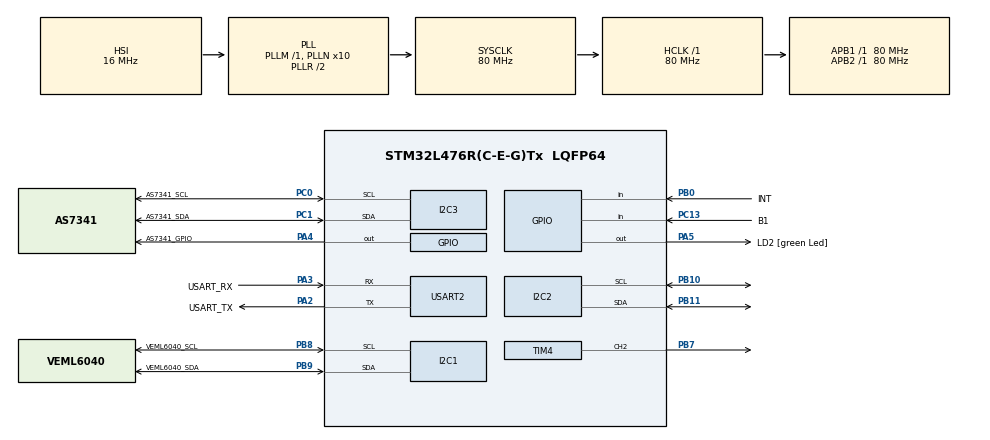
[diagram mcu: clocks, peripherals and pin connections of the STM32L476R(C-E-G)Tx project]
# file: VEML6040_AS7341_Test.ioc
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I2C1.Timing=0x10909CEC
I2C2.Timing=0x10909CEC
I2C3.Timing=0x10909CEC
Mcu.Family=STM32L4
Mcu.Name=STM32L476R(C-E-G)Tx
Mcu.Package=LQFP64
NVIC.PriorityGroup=NVIC_PRIORITYGROUP_4
NVIC.TIM1_UP_TIM16_IRQn=true\:0\:0\:false\:false\:true\:true\:true\:true
PA1.Signal=TIM15_CH1N
PA13\ (JTMS-SWDIO).GPIO_Label=TMS
PA13\ (JTMS-SWDIO).Mode=Serial_Wire
PA13\ (JTMS-SWDIO).Signal=SYS_JTMS-SWDIO
PA14\ (JTCK-SWCLK).GPIO_Label=TCK
PA14\ (JTCK-SWCLK).Mode=Serial_Wire
PA14\ (JTCK-SWCLK).Signal=SYS_JTCK-SWCLK
PA2.GPIO_Label=USART_TX
PA2.GPIO_Mode=GPIO_MODE_AF_PP
PA2.GPIO_PuPd=GPIO_NOPULL
PA2.GPIO_Speed=GPIO_SPEED_FREQ_VERY_HIGH
PA2.Mode=Asynchronous
PA2.Signal=USART2_TX
PA3.GPIO_Label=USART_RX
PA3.GPIO_Mode=GPIO_MODE_AF_PP
PA3.GPIO_PuPd=GPIO_NOPULL
PA3.GPIO_Speed=GPIO_SPEED_FREQ_VERY_HIGH
PA3.Mode=Asynchronous
PA3.Signal=USART2_RX
PA4.GPIO_Label=AS7341_GPIO
PA4.Signal=GPIO_Output
PA5.GPIO_Label=LD2 [green Led]
PA5.GPIO_ModeDefaultOutputPP=GPIO_MODE_OUTPUT_PP
PA5.GPIO_PuPd=GPIO_NOPULL
PA5.GPIO_Speed=GPIO_SPEED_FREQ_LOW
PA5.Signal=GPIO_Output
PB0.GPIO_Label=INT
PB0.Signal=GPIO_Input
PB10.Mode=I2C
PB10.Signal=I2C2_SCL
PB11.Mode=I2C
PB11.Signal=I2C2_SDA
PB3\ (JTDO-TRACESWO).GPIO_Label=SWO
PB3\ (JTDO-TRACESWO).Signal=SYS_JTDO-SWO
PB7.Signal=S_TIM4_CH2
PB8.GPIO_Label=VEML6040_SCL
PB8.Mode=I2C
PB8.Signal=I2C1_SCL
PB9.GPIO_Label=VEML6040_SDA
PB9.Mode=I2C
PB9.Signal=I2C1_SDA
PC0.GPIO_Label=AS7341_SCL
PC0.Mode=I2C
PC0.Signal=I2C3_SCL
PC1.GPIO_Label=AS7341_SDA
PC1.Mode=I2C
PC1.Signal=I2C3_SDA
PC13.GPIO_Label=B1
PC13.Signal=GPIO_Input
PC14-OSC32_IN\ (PC14).Mode=LSE-External-Oscillator
PC14-OSC32_IN\ (PC14).Signal=RCC_OSC32_IN
PC15-OSC32_OUT\ (PC15).Mode=LSE-External-Oscillator
PC15-OSC32_OUT\ (PC15).Signal=RCC_OSC32_OUT
PH0-OSC_IN\ (PH0).Signal=RCC_OSC_IN
PH1-OSC_OUT\ (PH1).Signal=RCC_OSC_OUT
ProjectManager.HeapSize=0x200
ProjectManager.StackSize=0x400
ProjectManager.TargetToolchain=STM32CubeIDE
RCC.ADCFreq_Value=64000000
RCC.AHBFreq_Value=80000000
RCC.APB1Freq_Value=80000000
RCC.APB1TimFreq_Value=80000000
RCC.APB2Freq_Value=80000000
RCC.APB2TimFreq_Value=80000000
RCC.CortexFreq_Value=80000000
RCC.HCLKFreq_Value=80000000
RCC.HSE_VALUE=8000000
RCC.HSI_VALUE=16000000
RCC.MSI_VALUE=4000000
RCC.PLLN=10
RCC.PLLSourceVirtual=RCC_PLLSOURCE_HSI
RCC.PREFETCH_ENABLE=1
RCC.SYSCLKFreq_VALUE=80000000
RCC.SYSCLKSource=RCC_SYSCLKSOURCE_PLLCLK
RCC.USART2CLockSelection=RCC_USART2CLKSOURCE_SYSCLK
RCC.USBFreq_Value=64000000
RCC.VCOOutputFreq_Value=160000000
SH.S_TIM4_CH2.0=TIM4_CH2,PWM Generation2 CH2
TIM16.Period=10000-1
TIM16.Prescaler=40000-1
TIM4.Channel-PWM\ Generation2\ CH2=TIM_CHANNEL_2
USART2.VirtualMode-Asynchronous=VM_ASYNC
VP_TIM16_VS_ClockSourceINT.Mode=Enable_Timer
VP_TIM4_VS_ClockSourceINT.Mode=Internal
board=NUCLEO-L476RG

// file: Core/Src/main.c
/* USER CODE BEGIN Header */
/**
  ******************************************************************************
  * Author: Sarah Tallack
  * Date: 28 September 2023
  * Description: This program is designed to read and transmit sensor data from
  * both the VEML6040 and AS7341 sensors
  ******************************************************************************
  * @file           : main.c
  * @brief          : Main program body
  ******************************************************************************
  * @attention
  *
  * Copyright (c) 2023 STMicroelectronics.
  * All rights reserved.
  *
  * This software is licensed under terms that can be found in the LICENSE file
  * in the root directory of this software component.
  * If no LICENSE file comes with this software, it is provided AS-IS.
  *
  ******************************************************************************
  */
/* USER CODE END Header */
#include "main.h"
#include "i2c.h"
#include "tim.h"
#include "usart.h"
#include "gpio.h"

/* USER CODE BEGIN Includes */

#include "inttypes.h"
#include "string.h"
#include "stdio.h"
#include "stdbool.h"

#include "Config_Parameters.h"

#include "VEML6040.h"

#include "Waveshare_AS7341.h"
#include "DEV_Config.h"

/* USER CODE END Includes */

/* USER CODE BEGIN PV */

uint8_t ATIME;
uint16_t ASTEP;

uint16_t redValue, greenValue, blueValue, whiteValue;

uint16_t rgbw_data[4];
uint32_t lastDebounceTime = 0;

VEML6040_Handle veml6040;

uint32_t t_int = 40;
int i = 0;
int j = 0;

sModeOneData_t data1;
sModeTwoData_t data2;

rgb_t VEML_data;

/* USER CODE END PV */

void SystemClock_Config(void);
/* USER CODE BEGIN PFP */
void VEML6040_Read_RGBW(uint16_t *rgbw_data);
void VEML6040_Start();
void AS7341_Start();

void start_meas();
void data_output();
/* USER CODE END PFP */

/* USER CODE BEGIN 0 */

#ifdef __GNUC__
#define PUTCHAR_PROTOTYPE int __io_putchar(int ch)
#else
#define PUTCHAR_PROTOTYPE int fputc(int ch, FILE *f)
#endif

PUTCHAR_PROTOTYPE
{
  HAL_UART_Transmit(&huart2, (uint8_t *)&ch, 1, HAL_MAX_DELAY);
  return ch;
}
/* USER CODE END 0 */

int main(void)
{

  /* MCU Configuration--------------------------------------------------------*/

  /* Reset of all peripherals, Initializes the Flash interface and the Systick. */
  HAL_Init();

  /* Configure the system clock */
  SystemClock_Config();

  /* Initialize all configured peripherals */
  MX_GPIO_Init();
  MX_USART2_UART_Init();
  MX_TIM16_Init();
  MX_I2C3_Init();
  MX_I2C1_Init();
  MX_I2C2_Init();
  MX_TIM4_Init();
  /* USER CODE BEGIN 2 */

  VEML6040_Start();
  AS7341_Start();

  /* USER CODE END 2 */

  /* Infinite loop */
  /* USER CODE BEGIN WHILE */
  while (1)
  {

//	  while (HAL_GPIO_ReadPin(B1_GPIO_Port, B1_Pin) == GPIO_PIN_SET) // Wait while the button is not pressed
//	  {
//		  HAL_GPIO_TogglePin(LD2_GPIO_Port, LD2_Pin);
//		  HAL_Delay(100);
//	  }
	  start_meas();
//	  data_output();
    /* USER CODE END WHILE */

  }
}

void SystemClock_Config(void)
{
  RCC_OscInitTypeDef RCC_OscInitStruct = {0};
  RCC_ClkInitTypeDef RCC_ClkInitStruct = {0};

  /** Configure the main internal regulator output voltage
  */
  if (HAL_PWREx_ControlVoltageScaling(PWR_REGULATOR_VOLTAGE_SCALE1) != HAL_OK)
  {
    Error_Handler();
  }

  /** Initializes the RCC Oscillators according to the specified parameters
  * in the RCC_OscInitTypeDef structure.
  */
  RCC_OscInitStruct.OscillatorType = RCC_OSCILLATORTYPE_HSI;
  RCC_OscInitStruct.HSIState = RCC_HSI_ON;
  RCC_OscInitStruct.HSICalibrationValue = RCC_HSICALIBRATION_DEFAULT;
  RCC_OscInitStruct.PLL.PLLState = RCC_PLL_ON;
  RCC_OscInitStruct.PLL.PLLSource = RCC_PLLSOURCE_HSI;
  RCC_OscInitStruct.PLL.PLLM = 1;
  RCC_OscInitStruct.PLL.PLLN = 10;
  RCC_OscInitStruct.PLL.PLLP = RCC_PLLP_DIV7;
  RCC_OscInitStruct.PLL.PLLQ = RCC_PLLQ_DIV2;
  RCC_OscInitStruct.PLL.PLLR = RCC_PLLR_DIV2;
  if (HAL_RCC_OscConfig(&RCC_OscInitStruct) != HAL_OK)
  {
    Error_Handler();
  }

  /** Initializes the CPU, AHB and APB buses clocks
  */
  RCC_ClkInitStruct.ClockType = RCC_CLOCKTYPE_HCLK|RCC_CLOCKTYPE_SYSCLK
                              |RCC_CLOCKTYPE_PCLK1|RCC_CLOCKTYPE_PCLK2;
  RCC_ClkInitStruct.SYSCLKSource = RCC_SYSCLKSOURCE_PLLCLK;
  RCC_ClkInitStruct.AHBCLKDivider = RCC_SYSCLK_DIV1;
  RCC_ClkInitStruct.APB1CLKDivider = RCC_HCLK_DIV1;
  RCC_ClkInitStruct.APB2CLKDivider = RCC_HCLK_DIV1;

  if (HAL_RCC_ClockConfig(&RCC_ClkInitStruct, FLASH_LATENCY_4) != HAL_OK)
  {
    Error_Handler();
  }
}

/* USER CODE BEGIN 4 */

/******************************************************************************
function:	Configure VEML6040
info：		Set the I2C channel, and set integration time
******************************************************************************/
void VEML6040_Start()
{
	  uint8_t VEML6040_IT = VEML6040_IT_160MS;
//	  printf("Configuring VEML6040");
	  // Initialize the VEML6040 sensor
		switch(t_int)
		{
		case 40:
			VEML6040_IT = VEML6040_IT_40MS;
			break;
		case 80:
			VEML6040_IT = VEML6040_IT_80MS;
			break;
		case 160:
			VEML6040_IT = VEML6040_IT_160MS;
			break;
		case 320:
			VEML6040_IT = VEML6040_IT_320MS;
			break;
		case 640:
			VEML6040_IT = VEML6040_IT_640MS;
			break;
		case 1280:
			VEML6040_IT = VEML6040_IT_1280MS;
			break;
		}
	  VEML6040_SetConfiguration(&hi2c1, VEML6040_IT | VEML6040_AF_AUTO | VEML6040_SD_ENABLE);
	  // Set the sensor configuration (e.g., VEML6040_IT_160MS)
//	  printf("Configuring VEML6040 done\r\n ------------------------\r\n");
}

/******************************************************************************
function:	Configure AS7341
info：		Set the sensing mode, enable or disable interrupts, set integration
			time, sensor gain and enable/disable LED.
******************************************************************************/
void AS7341_Start()
{
	DEV_ModuleInit();

	AS7341_Init(MODE);
	AS7341_EnableSpectralInterrupt(INT);
	AS7341_AGAIN_config(AGAIN);
	AS7341_EnableLED(LED_AS7341);

	/* t_int = (ATIME + 1)*(ASTEP + 1)*2.78e-6
	 * max t_int = 50s */
	switch(t_int)
	{
	case 40:
		ATIME = 29;
		ASTEP = 479;
		break;
	case 80:
		ATIME = 59;
		ASTEP = 479;
		break;
	case 160:
		ATIME = 59;
		ASTEP = 958;
		break;
	case 320:
		ATIME = 59;
		ASTEP = 1917;
		break;
	case 640:
		ATIME = 29;
		ASTEP = 7673;
		break;
	case 1280:
		ATIME = 119;
		ASTEP = 3826;
		break;
	default:
		ATIME = 29; // 50 ms
		ASTEP = 599;
		break;
	}

	AS7341_ATIME_config(ATIME);
	AS7341_ASTEP_config(ASTEP);
}

/******************************************************************************
function:	Toggle pins when timer has rolled over
info：		Callback: timer as rolled over. Toggle LED and GPIO output
******************************************************************************/
void HAL_TIM_PeriodElapsedCallback(TIM_HandleTypeDef *htim)
{
  // Check which version of the timer triggered this callback and toggle LED
  if (htim == &htim16 )
  {
	  HAL_GPIO_TogglePin(AS7341_GPIO_GPIO_Port, AS7341_GPIO_Pin);
	  HAL_GPIO_TogglePin(LD2_GPIO_Port, LD2_Pin);
  }

  switch(t_meas)
    {
    case(100):
		TIM16->ARR = 100-1;
    	  break;
    case(500):
		TIM16->ARR = 500-1;
    	  break;
    case(1000):
		TIM16->ARR = 1000-1;
    	  break;
    case(5000):
		TIM16->ARR = 5000-1;
    	  break;
    case(10000):
		TIM16->ARR = 10000-1;
    	  break;
    }
}

void start_meas()
{
	t_int = 1280;
	VEML6040_Start();
//	AS7341_Start();
//	for (i = 1; i <= 6; i++)
//	{
//		j = 0;
//		while (j < 10)
//		{
//			AS7341_startMeasure(eF1F4ClearNIR);
//			data1 = AS7341_ReadSpectralDataOne();
//			printf("%d,%d,%d,%d,", data1.channel1, data1.channel2, data1.channel3, data1.channel4);
//
//			AS7341_startMeasure(eF5F8ClearNIR);
//			data2 =AS7341_ReadSpectralDataTwo();
//			printf("%d,%d,%d,%d,%d,%d,", data2.channel5, data2.channel6, data2.channel7, data2.channel8, data2.CLEAR, data2.NIR);
//
//			VEML_data = VEML_GetData(&hi2c1);
//			printf("%d,%d,%d,%d,%ld\r\n", VEML_data.r, VEML_data.g, VEML_data.b, VEML_data.w, t_int);
//			HAL_Delay(t_int/4);
//			j++;
//		}
//		HAL_Delay(200);
//		t_int = t_int*2;
//		VEML6040_Start();
//		AS7341_Start();
//	}
	j = 0;
	while (j < 10)
	{
//		AS7341_startMeasure(eF1F4ClearNIR);
//		data1 = AS7341_ReadSpectralDataOne();
//		printf("%d,%d,%d,%d,", data1.channel1, data1.channel2, data1.channel3, data1.channel4);

//		AS7341_startMeasure(eF5F8ClearNIR);
//		data2 =AS7341_ReadSpectralDataTwo();
//		printf("%d,%d,%d,%d,%d,%d,", data2.channel5, data2.channel6, data2.channel7, data2.channel8, data2.CLEAR, data2.NIR);

		VEML_data = VEML_GetData(&hi2c1);
		printf("%d,%d,%d,%d,%ld\r\n", VEML_data.r, VEML_data.g, VEML_data.b, VEML_data.w, t_int);
		HAL_Delay(t_int/4);
		j++;
	}
	HAL_Delay(200);
}

void data_output()
{
	AS7341_startMeasure(eF1F4ClearNIR);
	data1 = AS7341_ReadSpectralDataOne();
	printf("%d,%d,%d,%d,", data1.channel1, data1.channel2, data1.channel3, data1.channel4);

	AS7341_startMeasure(eF5F8ClearNIR);
	data2 =AS7341_ReadSpectralDataTwo();
	printf("%d,%d,%d,%d,%d,%d,", data2.channel5, data2.channel6, data2.channel7, data2.channel8, data2.CLEAR, data2.NIR);

	VEML_data = VEML_GetData(&hi2c1);
	printf("%d,%d,%d,%d,%ld\r\n", VEML_data.b, VEML_data.g, VEML_data.r, VEML_data.w, t_int);

	HAL_Delay(100);
}

void HAL_GPIO_EXTI_Callback(uint16_t GPIO_Pin)
{
	uint32_t currentTime = HAL_GetTick();

	if (currentTime - lastDebounceTime >= 100){
		if (GPIO_Pin == B1_Pin)
		{
			if (t_int == 1280)
			{
				t_int = 40;
			}
			else
			{
				t_int = t_int*2;
			}
			VEML6040_Start();
			AS7341_Start();
			HAL_GPIO_TogglePin(LD2_GPIO_Port, LD2_Pin);
		}
		lastDebounceTime = currentTime;
	}
}

/* USER CODE END 4 */

void Error_Handler(void)
{
  __disable_irq();
  while (1)
  {
  }
}
